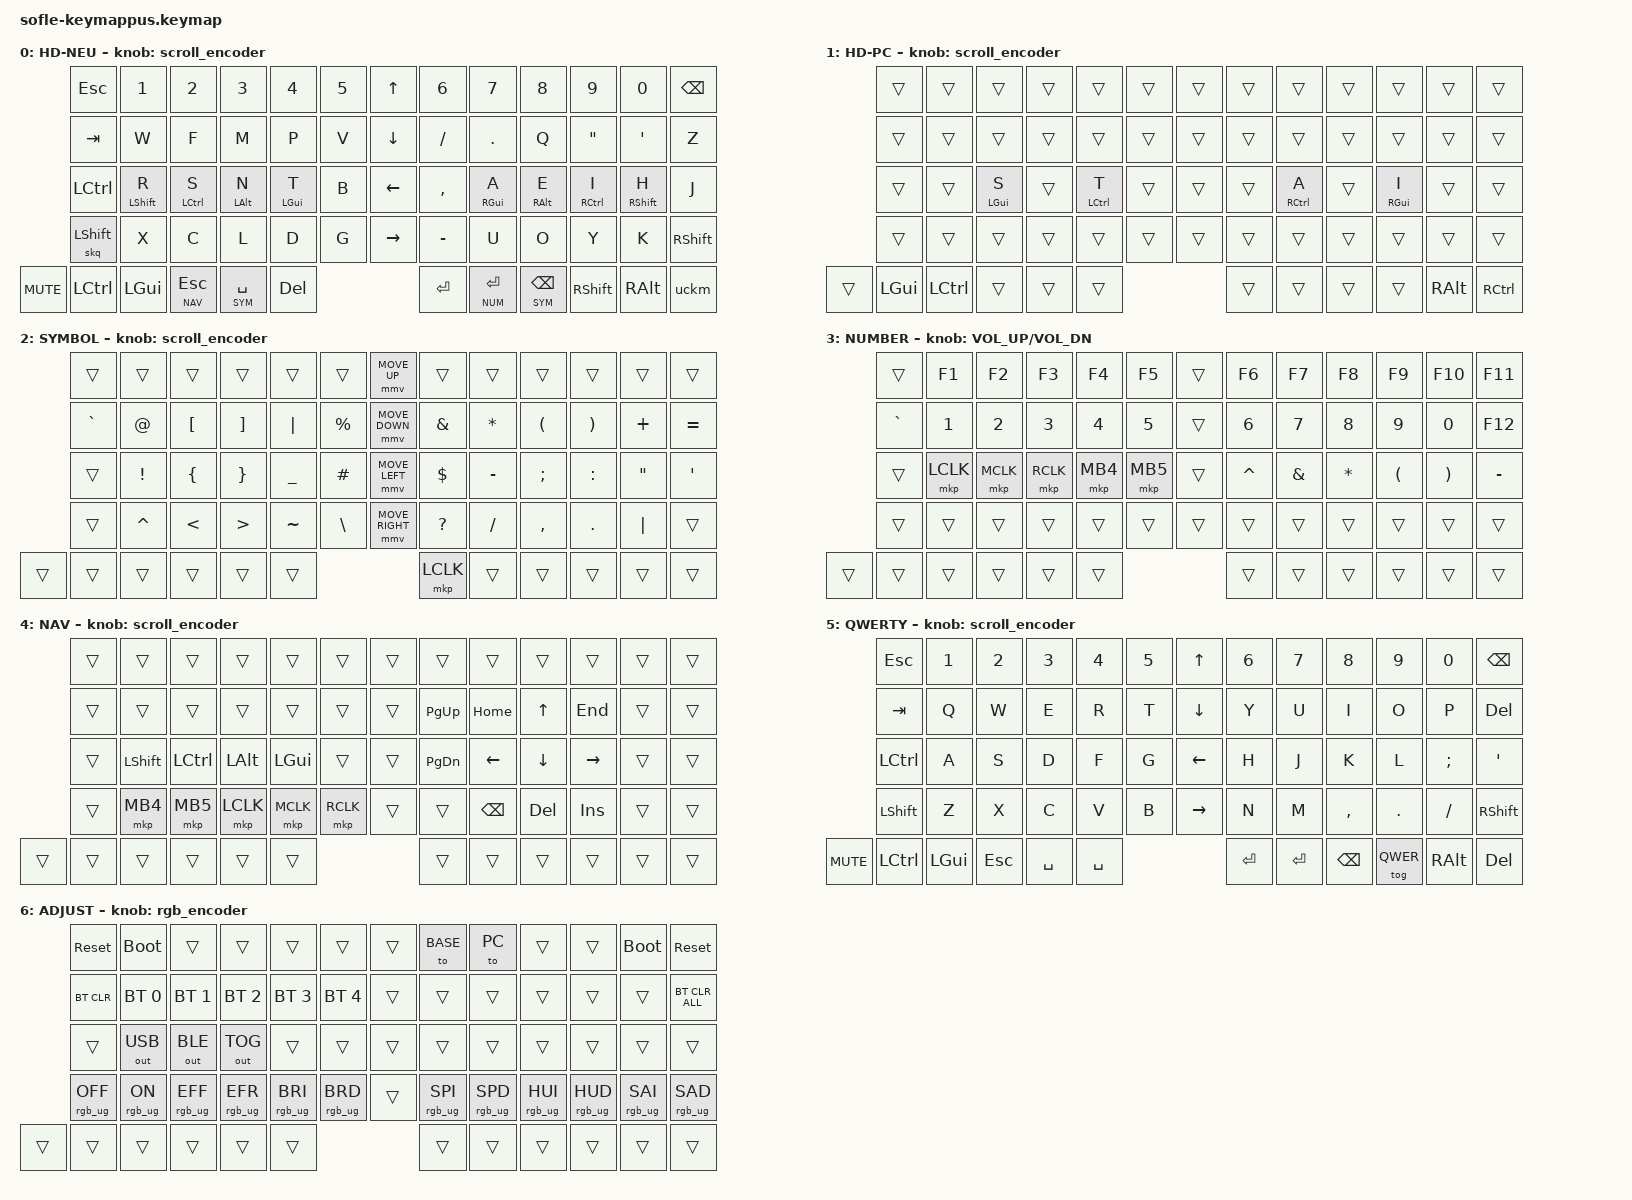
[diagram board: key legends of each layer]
#include <input/processors.dtsi>
#include <behaviors.dtsi>
#include <dt-bindings/zmk/keys.h>
#include <dt-bindings/zmk/bt.h>
#include <dt-bindings/zmk/ext_power.h>
#include <dt-bindings/zmk/outputs.h>
#include <dt-bindings/zmk/pointing.h>
#include <dt-bindings/zmk/rgb.h>
#include <zephyr/dt-bindings/input/input-event-codes.h>

/* Layer definitions */
#define BASE 0
#define PC   1
#define SYM  2
#define NUM  3
#define NAV  4
#define QWER 5
#define ADJ  6

/* Home row mods */
#define HRM_R &hml LSHFT R
#define HRM_S &hml LCTRL S
#define HRM_N &hml LALT N
#define HRM_T &hml LGUI T
#define HRM_A &hmr RGUI A
#define HRM_E &hmr RALT E
#define HRM_I &hmr RCTRL I
#define HRM_H &hmr RSHFT H
/* Home row mods for PC */
#define PHRM_T &hml LCTRL T
#define PHRM_S &hml LGUI S
#define PHRM_I &hmr RGUI I
#define PHRM_A &hmr RCTRL A

&mmv_input_listener {
    input-processors = <&zip_xy_scaler 2 1>;
};

&msc_input_listener {
    input-processors = <&zip_scroll_scaler 2 1>;
};

&msc {
    acceleration-exponent = <0>;
    time-to-max-speed-ms = <0>;
    delay-ms = <0>;
};

&mmv {
    time-to-max-speed-ms = <300>;
    acceleration-exponent = <2>;
    delay-ms = <0>;
};

&caps_word {
    continue-list = <UNDER MINUS BSPC DEL>;
};

/ {
    zip_scroll_scaler: zip_scroll_scaler {
        compatible = "zmk,input-processor-scaler";
        #input-processor-cells = <2>;
        type = <INPUT_EV_REL>;
        codes = <INPUT_REL_WHEEL INPUT_REL_HWHEEL>;
        track-remainders;
    };

    zip_xy_scaler: zip_xy_scaler {
        compatible = "zmk,input-processor-scaler";
        #input-processor-cells = <2>;
        type = <INPUT_EV_REL>;
        codes = <INPUT_REL_X INPUT_REL_Y>;
        track-remainders;
    };
    /*
     * Key position reference for Sofle standard:
     * ╭──────────────────────╮ ╭──────────────────────╮
     * │  0  1  2  3  4  5    │ │     6  7  8  9 10 11 │
     * │ 12 13 14 15 16 17    │ │    18 19 20 21 22 23 │
     * │ 24 25 26 27 28 29    │ │    30 31 32 33 34 35 │
     * │ 36 37 38 39 40 41    │ │    42 43 44 45 46 47 │
     * ╰─────╮ 48 49 50 51 52 │ │ 53 54 55 56 57 ╭─────╯
     *       ╰────────────────╯ ╰────────────────╯
     *
     * Key position reference for Sofle with Joystick:
     * ╭──────────────────────╮ ╭─-╮╭──────────────────────╮
     * │  0  1  2  3  4  5    │ │ 6││     7  8  9 10 11 12 │
     * │ 13 14 15 16 17 18    │ │19││    20 21 22 23 24 25 │
     * │ 26 27 28 29 30 31    │ │32││    33 34 35 36 37 38 │
     * │ 39 40 41 42 43 44    │ │45││    46 47 48 49 50 51 │
     * ╰──────╮52 53 54 55 56 │ │57││ 58 59 60 61 62 ╭─────╯
     *        ╰───────────────╯ ╰─-╯╰────────────────╯
     * ╭──────────────────────╮        ╭─-╮   ╭──────────────────────╮
     * │  0  1  2  3  4  5    │     ╭- | 6│___│     7  8  9 10 11 12 │
     * │ 13 14 15 16 17 18    │     |32 57 45│|    20 21 22 23 24 25 │
     * │ 26 27 28 29 30 31    │        │19│   │    33 34 35 36 37 38 │
     * │ 39 40 41 42 43 44    │               │    46 47 48 49 50 51 │
     * ╰──────╮52 53 54 55 56 │               │ 59 60 61 62 63 ╭─────╯
     *        ╰───────────────╯               ╰────────────────╯
     *
     * Key position reference for Sofle with Scrollwheel(clickable) and Joystick(clickable):
     * ╭──────────────────────╮        ╭─-╮   ╭──────────────────────╮
     * │  0  1  2  3  4  5    │     ╭- | 6│___│     7  8  9 10 11 12 │
     * │ 13 14 15 16 17 18    │     |32 58 45│|    20 21 22 23 24 25 │
     * │ 26 27 28 29 30 31    │        │19│   │    33 34 35 36 37 38 │
     * │ 39 40 41 42 43 44    │  ╭─-╮         │    46 47 48 49 50 51 │
     * ╰──────╮53 54 55 56 57 │  │52│         │ 59 60 61 62 63 ╭─────╯
     *        ╰───────────────╯  ╰─-╯         ╰────────────────╯
     */

    behaviors {
        hml: home_row_mod_left {
            compatible = "zmk,behavior-hold-tap";
            #binding-cells = <2>;
            bindings = <&kp>, <&kp>;
            flavor = "balanced";
            tapping-term-ms = <280>;
            quick-tap-ms = <175>;
            require-prior-idle-ms = <150>;
            /* Left hand mods only activate with right hand keys + joystick */
            hold-trigger-key-positions = <
                6 7 8 9 10 11 12
                19 20 21 22 23 24 25
                32 33 34 35 36 37 38
                45 46 47 48 49 50 51
                58 59 60 61 62 63
            >;
            hold-trigger-on-release;
        };

        hmr: home_row_mod_right {
            compatible = "zmk,behavior-hold-tap";
            #binding-cells = <2>;
            bindings = <&kp>, <&kp>;
            flavor = "balanced";
            tapping-term-ms = <280>;
            quick-tap-ms = <175>;
            require-prior-idle-ms = <150>;
            /* Right hand mods only activate with left hand keys */
            hold-trigger-key-positions = <
                0 1 2 3 4 5
                13 14 15 16 17 18
                26 27 28 29 30 31
                39 40 41 42 43 44
                52
                53 54 55 56 57
            >;
            hold-trigger-on-release;
        };

        /* Faster timing for index fingers (stronger) */
        hmr_index: hmr_index {
           compatible = "zmk,behavior-hold-tap";
           tapping-term-ms = <200>;
           #binding-cells = <2>;
           bindings = <&kp>, <&kp>;
           flavor = "balanced";
           quick-tap-ms = <175>;
           require-prior-idle-ms = <150>;
           /* Right hand mods only activate with left hand keys */
           hold-trigger-key-positions = <
               0 1 2 3 4 5
               13 14 15 16 17 18
               26 27 28 29 30 31
               39 40 41 42 43 44
               52
               53 54 55 56 57
           >;
           hold-trigger-on-release;
        };

        hmr_pinky: hmr_pinky {
           compatible = "zmk,behavior-hold-tap";
           tapping-term-ms = <300>;
           #binding-cells = <2>;
           bindings = <&kp>, <&kp>;
           flavor = "balanced";
           quick-tap-ms = <175>;
           require-prior-idle-ms = <150>;
           hold-trigger-key-positions = <
               0 1 2 3 4 5
               13 14 15 16 17 18
               26 27 28 29 30 31
               39 40 41 42 43 44
               52
               53 54 55 56 57
           >;
           hold-trigger-on-release;
        };

        lt: layer_tap {
            compatible = "zmk,behavior-hold-tap";
            #binding-cells = <2>;
            bindings = <&mo>, <&kp>;
            tapping-term-ms = <200>;
            quick-tap-ms = <150>;
            flavor = "tap-preferred";
        };

        skq: sticky_key_quick {
            compatible = "zmk,behavior-sticky-key";
            #binding-cells = <1>;
            bindings = <&kp>;
            release-after-ms = <1000>;
            quick-release;
        };

        scroll_encoder: scroll_encoder {
            compatible = "zmk,behavior-sensor-rotate";
            #sensor-binding-cells = <0>;
            bindings = <&msc SCRL_DOWN>, <&msc SCRL_UP>;
            tap-ms = <30>;
        };

        dot_lvl1: dot_level1 {
            compatible = "zmk,behavior-mod-morph";
            #binding-cells = <0>;
            bindings = <&kp DOT>, <&kp COLON>;
            mods = <(MOD_LALT|MOD_RALT)>;
        };
    };

    combos {
        compatible = "zmk,combos";

        combo_ae {
            timeout-ms = <50>;
            key-positions = <34 35>;
            bindings = <&de_ae>;
        };

        combo_oe {
            timeout-ms = <50>;
            key-positions = <48 35>;
            bindings = <&de_oe>;
        };

        combo_ue {
            timeout-ms = <50>;
            key-positions = <47 35>;
            bindings = <&de_ue>;
        };

        combo_ss {
            timeout-ms = <50>;
            key-positions = <27 28>;
            bindings = <&de_ss>;
        };

        combo_qwerty {
            timeout-ms = <100>;
            key-positions = <57 59>;
            bindings = <&tog QWER>;
        };

        combo_adjust {
            timeout-ms = <100>;
            key-positions = <53 63>;
            bindings = <&mo ADJ>;
        };
    };

    macros {
        uckm: umlaut_compose_key_mac {
            compatible = "zmk,behavior-macro";
            #binding-cells = <0>;
            bindings = <&kp RALT>, <&kp U>;
        };

        de_ae: de_ae {
            compatible = "zmk,behavior-macro";
            #binding-cells = <0>;
            bindings = <&uckm>, <&kp A>;
        };

        de_oe: de_oe {
            compatible = "zmk,behavior-macro";
            #binding-cells = <0>;
            bindings = <&uckm>, <&kp O>;
        };

        de_ue: de_ue {
            compatible = "zmk,behavior-macro";
            #binding-cells = <0>;
            bindings = <&uckm>, <&kp U>;
        };

        de_ss: de_ss {
            compatible = "zmk,behavior-macro";
            #binding-cells = <0>;
            bindings = <&kp RALT>, <&kp S>;
        };

        pa_ae: pc_alt_ae {
            compatible = "zmk,behavior-macro";
            #binding-cells = <0>;
            bindings = <&macro_press>, <&kp LALT>,
                       <&macro_tap>, <&kp KP_N0>, <&kp KP_N2>, <&kp KP_N2>, <&kp KP_N8>,
                       <&macro_release>, <&kp LALT>;
        };

        pa_oe: pc_alt_oe {
            compatible = "zmk,behavior-macro";
            #binding-cells = <0>;
            bindings = <&macro_press>, <&kp LALT>,
                       <&macro_tap>, <&kp KP_N0>, <&kp KP_N2>, <&kp KP_N4>, <&kp KP_N6>,
                       <&macro_release>, <&kp LALT>;
        };

        pa_ue: pc_alt_ue {
            compatible = "zmk,behavior-macro";
            #binding-cells = <0>;
            bindings = <&macro_press>, <&kp LALT>,
                       <&macro_tap>, <&kp KP_N0>, <&kp KP_N2>, <&kp KP_N5>, <&kp KP_N2>,
                       <&macro_release>, <&kp LALT>;
        };

        pa_ss: pc_alt_ss {
            compatible = "zmk,behavior-macro";
            #binding-cells = <0>;
            bindings = <&macro_press>, <&kp LALT>,
                       <&macro_tap>, <&kp KP_N0>, <&kp KP_N2>, <&kp KP_N2>, <&kp KP_N3>,
                       <&macro_release>, <&kp LALT>;
        };
    };

    keymap {
        compatible = "zmk,keymap";
        /*
         * Base - Hands Down Neu layout with home row mods:
         * ╭─────────────────────────────╮         ╭────────────────────────────╮
         * │ ESC  1!  2@  3#  4$  5%     │       __│     6^  7&  8*  9(  0) BSP │
         * │ TAB  W   F   M   P   V  ╭───│    __│ ↑│__  /?  .>   Q   "  '"   Z  │
         * │ CTR  R   S   N   T   B  │MU │   │ ← ENT →| ,<   A   E   I   H   J  │
         * │ SHF  X   C   L   D   G  ╰───│    ¯¯│ ↓│¯¯  -_   U   O   Y   K  SHF │
         * ╰───────┐CTR  GUI ESC SPC DEL │       ¯¯│ENT BSP ALT ALT COMP╭───────╯
         *         └─────────────────────╯         └────────────────────╯
         */
        base_layer {
            bindings = <
               &kp  ESC     &kp N1   &kp N2      &kp N3     &kp N4        &kp N5                        &kp UP                        &kp N6         &kp N7      &kp N8     &kp N9       &kp N0    &kp BSPC
               &kp  TAB     &kp W    &kp F       &kp M      &kp P         &kp V                         &kp DOWN                      &kp FSLH       &kp DOT     &kp Q      &kp DQT      &kp SQT   &kp Z
               &kp  LCTRL   HRM_R    HRM_S       HRM_N      HRM_T         &kp B                         &kp LEFT                      &kp COMMA      HRM_A       HRM_E      HRM_I        HRM_H     &kp J
               &skq LSHFT   &kp X    &kp C       &kp L      &kp D         &kp G                         &kp RIGHT                     &kp MINUS      &kp U       &kp O      &kp Y        &kp K     &kp RSHFT
&kp C_MUTE                           &kp LCTRL   &kp LGUI   &lt NAV ESC   &lt SYM SPACE   &kp DEL       &kp ENTER     &lt NUM ENTER   &lt SYM BSPC   &kp RSHFT   &kp RALT   &uckm
            >;
            display-name = "HD-NEU";
            sensor-bindings = <&scroll_encoder>;
        };

        /* PC layer - Hands Down Neu layout with home row mods */
        pc_layer {
            bindings = <
           &trans   &trans   &trans     &trans      &trans   &trans              &trans              &trans   &trans   &trans     &trans      &trans   &trans
           &trans   &trans   &trans     &trans      &trans   &trans              &trans              &trans   &trans   &trans     &trans      &trans   &trans
           &trans   &trans   PHRM_S     &trans      PHRM_T   &trans              &trans              &trans   PHRM_A   &trans     PHRM_I      &trans   &trans
           &trans   &trans   &trans     &trans      &trans   &trans              &trans              &trans   &trans   &trans     &trans      &trans   &trans
&trans                       &kp LGUI   &kp LCTRL   &trans   &trans   &trans     &trans     &trans   &trans   &trans   &kp RALT   &kp RCTRL
            >;
            display-name = "HD-PC";
            sensor-bindings = <&scroll_encoder>;
        };
        /*
         * Symbol:
         * ╭─────────────────────────────╮         ╭────────────────────────────╮
         * │  o   o   o   o   o   o      │       __│     o   o   o   o   o   o  │
         * │ `~   @  [{  ]}   |   %  ╭───│    __│ ↑│__   &   *   (   )   +  =+  │
         * │  o   !   {   }   _  #~  │ o │   │ ← LC → |  $  -_  ;:   :   "  '"  │
         * │  o   ^   <   >   ~  \|  ╰───│    ¯¯│ ↓│¯¯   ?  /?  ,<  .>   |   o  │
         * ╰───────┐  o   o   o   o   o  │       ¯¯│ o   o   o   o   o  ╭───────╯
         *         └─────────────────────╯         └────────────────────╯
         */
        symbol_layer {
            bindings = <
           &trans      &trans      &trans     &trans     &trans      &trans                 &mmv MOVE_UP                 &trans      &trans      &trans      &trans      &trans     &trans
           &kp GRAVE   &kp AT      &kp LBKT   &kp RBKT   &kp PIPE    &kp PRCNT              &mmv MOVE_DOWN               &kp AMPS    &kp STAR    &kp LPAR    &kp RPAR    &kp PLUS   &kp EQUAL
           &trans      &kp EXCL    &kp LBRC   &kp RBRC   &kp UNDER   &kp HASH               &mmv MOVE_LEFT               &kp DLLR    &kp MINUS   &kp SEMI    &kp COLON   &kp DQT    &kp APOS
           &trans      &kp CARET   &kp LT     &kp GT     &kp TILDE   &kp BSLH               &mmv MOVE_RIGHT              &kp QMARK   &kp FSLH    &kp COMMA   &kp DOT     &kp PIPE   &trans
&trans                             &trans     &trans     &trans      &trans      &trans     &mkp LCLK           &trans   &trans      &trans      &trans      &trans
            >;
            display-name = "SYMBOL";
            sensor-bindings = <&scroll_encoder>;
        };

        /*
         * Number/Function:
         * ╭─────────────────────────────╮         ╭────────────────────────────╮
         * │  o  F1  F2  F3  F4  F5      │       __│    F6  F7  F8  F9  F10 F11 │
         * │  o   1   2   3   4   5  ╭───│    __│ ↑│__   6   7   8   9   0  F12 │
         * │  o  LCL MCL RCL MB4 MB5 │ o │   │ ← LC → |  ^   &   *   (   )   -  │
         * │  o   o   o   o   o   o  ╰───│    ¯¯│ ↓│¯¯   o   o   o   o   o   o  │
         * ╰───────┐  o   o   o   o   o  │       ¯¯│ o   o   o   o   o  ╭───────╯
         *         └─────────────────────╯         └────────────────────╯
         */
        number_layer {
            bindings = <
           &trans      &kp F1      &kp F2      &kp F3      &kp F4     &kp F5                &trans              &kp F6      &kp F7     &kp F8     &kp F9     &kp F10    &kp F11
           &kp GRAVE   &kp N1      &kp N2      &kp N3      &kp N4     &kp N5                &trans              &kp N6      &kp N7     &kp N8     &kp N9     &kp N0     &kp F12
           &trans      &mkp LCLK   &mkp MCLK   &mkp RCLK   &mkp MB4   &mkp MB5              &trans              &kp CARET   &kp AMPS   &kp STAR   &kp LPAR   &kp RPAR   &kp MINUS
           &trans      &trans      &trans      &trans      &trans     &trans                &trans              &trans      &trans     &trans     &trans     &trans     &trans
&trans                             &trans      &trans      &trans     &trans     &trans     &trans     &trans   &trans      &trans     &trans     &trans
            >;
            display-name = "NUMBER";
            sensor-bindings = <&inc_dec_kp C_VOL_UP C_VOL_DN>;
        };

        /*
         *  Navigation:
         * ╭─────────────────────────────╮         ╭────────────────────────────╮
         * │  o   o   o   o   o   o      │       __│     o   o   o   o   o   o  │
         * │  o   o   o   o   o   o  ╭───│    __│ ↑│__  PUP HOM UP  END  o   o  │
         * │  o  SHF CTR ALT GUI  o  │SCR│   │ ← LC → | PDN LFT DWN RGT  o   o  │
         * │  o  MB4 MB5 LCL MCL RCL ╰───│    ¯¯│ ↓│¯¯   o  BSP DEL INS  o   o  │
         * ╰───────┐  o   o   o   o   o  │       ¯¯│ o   o   o   o   o  ╭───────╯
         *         └─────────────────────╯         └────────────────────╯
        */
        navigation_layer {
            bindings = <
           &trans   &trans      &trans      &trans      &trans      &trans                 &trans              &trans      &trans     &trans     &trans       &trans   &trans
           &trans   &trans      &trans      &trans      &trans      &trans                 &trans              &kp PG_UP   &kp HOME   &kp UP     &kp END      &trans   &trans
           &trans   &kp LSHFT   &kp LCTRL   &kp LALT    &kp LGUI    &trans                 &trans              &kp PG_DN   &kp LEFT   &kp DOWN   &kp RIGHT    &trans   &trans
           &trans   &mkp MB4    &mkp MB5    &mkp LCLK   &mkp MCLK   &mkp RCLK              &trans              &trans      &kp BSPC   &kp DEL    &kp INSERT   &trans   &trans
&trans                          &trans      &trans      &trans      &trans      &trans     &trans     &trans   &trans      &trans     &trans     &trans
            >;
            display-name = "NAV";
            sensor-bindings = <&scroll_encoder>;
        };

        /*
         * Qwerty:
         * ╭─────────────────────────────╮         ╭────────────────────────────╮
         * │ ESC  1   2   3   4   5      │       __│     6   7   8   9   o  BSP │
         * │ TAB  Q   W   E   R   T  ╭───│    __│ ↑│__   Y   U   I   O   P  DEL │
         * │ CTR  A   S   D   F   G  │SCR│   │ ← LC → |  H   J   K   L  ;:  '"  │
         * │ SHF  Z   X   C   V   B  ╰───│    ¯¯│ ↓│¯¯   N   M  ,<  .>  /?  SHF │
         * ╰───────┐ CTR GUI ESC SPC SPC │       ¯¯│ENT BSP QWE ALT DEL ╭───────╯
         *         └─────────────────────╯         └────────────────────╯
         */
        qwerty_layer {
            bindings = <
               &kp ESC     &kp N1   &kp N2      &kp N3     &kp N4    &kp N5                    &kp UP                    &kp N6     &kp N7      &kp N8      &kp N9       &kp N0     &kp BSPC
               &kp TAB     &kp Q    &kp W       &kp E      &kp R     &kp T                     &kp DOWN                  &kp Y      &kp U       &kp I       &kp O        &kp P      &kp DEL
               &kp LCTRL   &kp A    &kp S       &kp D      &kp F     &kp G                     &kp LEFT                  &kp H      &kp J       &kp K       &kp L        &kp SEMI   &kp SQT
               &kp LSHFT   &kp Z    &kp X       &kp C      &kp V     &kp B                     &kp RIGHT                 &kp N      &kp M       &kp COMMA   &kp DOT      &kp FSLH   &kp RSHFT
&kp C_MUTE                          &kp LCTRL   &kp LGUI   &kp ESC   &kp SPACE   &kp SPACE     &kp ENTER     &kp ENTER   &kp BSPC   &tog QWER   &kp RALT    &kp DELETE
            >;
            display-name = "QWERTY";
            sensor-bindings = <&scroll_encoder>;
        };

        /*
         * Adjust:
         * ╭─────────────────────────────╮         ╭────────────────────────────╮
         * │rese boot o   o   o   o      │       __│    mac  pc  o   o boot rese│
         * │BTCL BS0 BS1 BS2 BS3 BS4 ╭───│    __│ ↑│__   o   o   o   o   o  BTCA│
         * │  o   o   o   o   o   o  │RGB│   │ ← LC → |  o   o   o   o   o   o  │
         * │RGOF RGON RGF RGR BRI BRD╰───│    ¯¯│ ↓│¯¯  SPI SPD HUI HUD SAI SAD │
         * ╰───────┐  o   o   o   o   o  │       ¯¯│ o   o   o   o   o  ╭───────╯
         *         └─────────────────────╯         └────────────────────╯
        */
        adjust_layer {
            bindings = <
           &sys_reset        &bootloader      &trans            &trans            &trans            &trans                       &trans              &to BASE          &to PC            &trans            &trans            &bootloader       &sys_reset
           &bt BT_CLR        &bt BT_SEL 0     &bt BT_SEL 1      &bt BT_SEL 2      &bt BT_SEL 3      &bt BT_SEL 4                 &trans              &trans            &trans            &trans            &trans            &trans            &bt BT_CLR_ALL
           &trans            &out OUT_USB     &out OUT_BLE      &out OUT_TOG      &trans            &trans                       &trans              &trans            &trans            &trans            &trans            &trans            &trans
           &rgb_ug RGB_OFF   &rgb_ug RGB_ON   &rgb_ug RGB_EFF   &rgb_ug RGB_EFR   &rgb_ug RGB_BRI   &rgb_ug RGB_BRD              &trans              &rgb_ug RGB_SPI   &rgb_ug RGB_SPD   &rgb_ug RGB_HUI   &rgb_ug RGB_HUD   &rgb_ug RGB_SAI   &rgb_ug RGB_SAD
&trans                                        &trans            &trans            &trans            &trans            &trans     &trans     &trans   &trans            &trans            &trans            &trans
            >;
            display-name = "ADJUST";
            sensor-bindings = <&rgb_encoder>;
        };
    };
};
